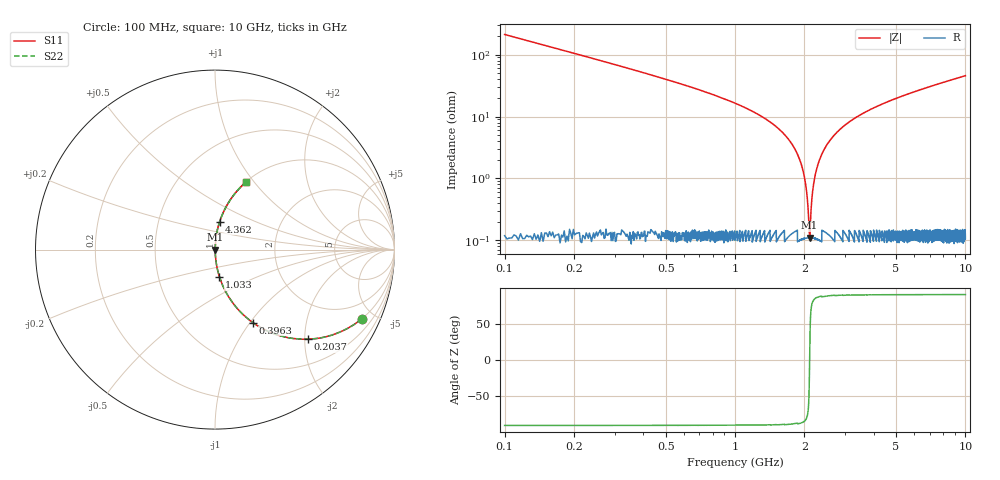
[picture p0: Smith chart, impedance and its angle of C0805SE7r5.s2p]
! AVX Thin Film Operation		Date: April 2012
! Description: Accu-P® Series, Thin Film, SMD, RF Capacitor
! Part Number: 08051J7R5BBTTR
!	100	MHz	-	10.05	GHz
!	Serial	Measurements
#	MHZ	S	MA	R	50
!	S11	S21	S12	S22
!	dB	Phase	dB	Phase	dB	Phase	dB	Phase
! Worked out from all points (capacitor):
!   4010 points, 100 MHz to 10 GHz, reference 50 ohm
!   read as one part in series: C = 7.5 pF near 149.4 MHz
!   lowest |Z| = 110 mohm at 2.108 GHz (marker M1)
!   series resonance near 2.108 GHz, so ESL is about 760 pH
!   S11 on the Smith chart (normalised r, x): 100 MHz: 1.00, -4.23; 203.7 MHz: 1.00, -2.06; 396.3 MHz: 1.00, -1.03; 1.033 GHz: 1.00, -0.31; 4.362 GHz: 1.00, +0.32; 10 GHz: 1.00, +0.91
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100  0.904 -25.3  0.427 64.7  0.427 64.7  0.904 -25.3
203.717  0.718 -44.1  0.695 45.9  0.695 45.9  0.718 -44.1
396.333  0.458 -62.6  0.888 27.3  0.888 27.3  0.458 -62.6
630.93  0.292 -72.8  0.955 17.0  0.955 17.0  0.292 -72.8
1033.45  0.154 -80.7  0.987 8.9  0.987 8.9  0.154 -80.7
1470.541  0.074 -84.8  0.996 4.2  0.996 4.2  0.074 -84.8
1752.058  0.037 -86.0  0.998 2.1  0.998 2.1  0.037 -86.0
1966.899  0.014 -84.3  0.999 0.8  0.999 0.8  0.014 -84.3
2026.166  0.00804 -81.0  0.999 0.5  0.999 0.5  0.00804 -81.0
2078.024  0.0031 -67.1  0.999 0.2  0.999 0.2  0.0031 -67.1
2107.658  0.0012 -0.7  0.999 0.0  0.999 0.0  0.0012 -0.7
2137.291  0.00304 66.6  0.999 -0.2  0.999 -0.2  0.00304 66.6
2189.149  0.00771 80.6  0.999 -0.4  0.999 -0.4  0.00771 80.6
2243.477  0.013 83.8  0.999 -0.7  0.999 -0.7  0.013 83.8
2443.502  0.03 86.0  0.998 -1.7  0.998 -1.7  0.03 86.0
2806.51  0.058 85.5  0.997 -3.3  0.997 -3.3  0.058 85.5
3401.646  0.099 83.6  0.994 -5.7  0.994 -5.7  0.099 83.6
4362.26  0.158 80.5  0.986 -9.1  0.986 -9.1  0.158 80.5
5051.235  0.195 78.4  0.98 -11.3  0.98 -11.3  0.195 78.4
6700.823  0.277 73.7  0.96 -16.1  0.96 -16.1  0.277 73.7
8350.412  0.349 69.4  0.936 -20.5  0.936 -20.5  0.349 69.4
10000  0.415 65.3  0.909 -24.5  0.909 -24.5  0.415 65.3
